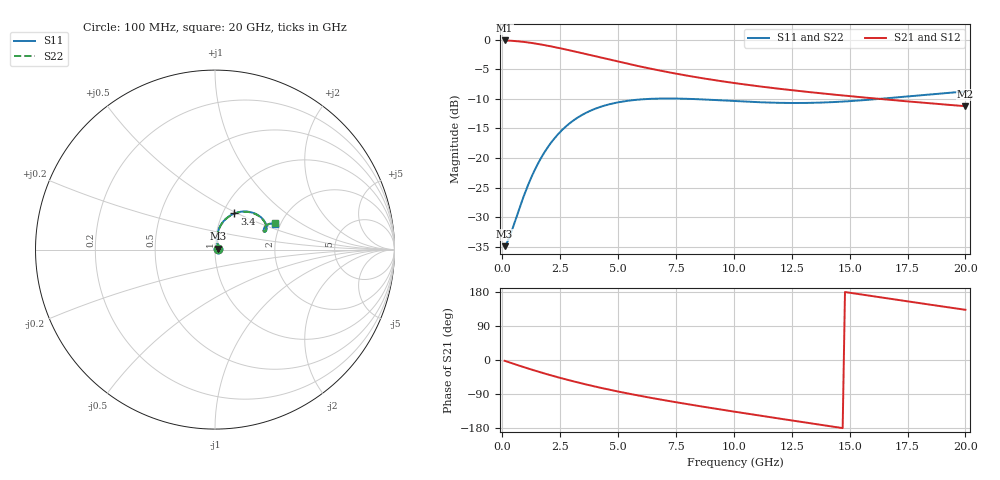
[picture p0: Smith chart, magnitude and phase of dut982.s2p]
! Touchstone file exported from HFSS 2024.1.0
!  File:  C:/UserFiles/LocalFiles/RDL_TSV_Batchsim/temp_RDL_TSV_982_1779973666.aedt
!  Generated:  09:22:03 PM May 28, 2026
!  Design:  RDL_TSV
!  Project:  temp_RDL_TSV_982_1779973666
!  Setup:  Setup1
!  Solution:  Sweep
! Variables:
!  dtsv = 9.14um
!  hbump = 3um
!  htsv = 90.71um
!  ldown = 681.23um
!  lrdl = 272.59um
!  p = 40
!  p1 = 59.82um
!  rhole = 10um
!  subl = 3134.05um
!  t = 450um
!  tdown = 3.92um
!  trdl = 3.85um
!  viad = 10um
!  wdown = 14.79um
!  wrdl = 24.59um
!  xbump = 18um
# GHz S MA R 50.000000
! Terminal data exported
! Port[1] = TM1_1_T1
! Port[2] = TM1_4_T1
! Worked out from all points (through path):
!   200 points, 100 MHz to 20 GHz, reference 50 ohm
!   highest |S21| = -0.16 dB at 100 MHz (marker M1); lowest = -11.3 dB at 20 GHz (marker M2)
!   group delay of S21, straight-line fit = 29.4 ps
!   lowest |S11| = -34.9 dB at 100 MHz (marker M3), VSWR 1.04, Z = 51.8 + j0.499 ohm
!   |S11| at or under -10 dB: start of sweep to 6.504 GHz; 7.89 GHz to 16.35 GHz (8.463 GHz wide, 69.8 % of centre)
!   |S22| runs from -34.9 to -8.8 dB; largest |S21 - S12| = 4.2e-14
!   S11 on the Smith chart (normalised r, x): 100 MHz: 1.04, +0.01; 3.4 GHz: 1.13, +0.48; 20 GHz: 1.87, +0.62
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0.1  0.01799 15.5  0.9822 -2.1  0.9822 -2.1  0.01799 15.5
! Gamma 0 0 0 0
! Port Impedance 50 0 50 0
0.3  0.02125 38.5  0.9787 -6.2  0.9787 -6.2  0.02121 38.7
0.7  0.03569 67.1  0.9655 -14.3  0.9655 -14.3  0.0357 67.1
1.1  0.05821 78.3  0.9455 -22.2  0.9455 -22.2  0.05818 78.2
1.4  0.07901 80.8  0.9269 -27.9  0.9269 -27.9  0.0789 80.6
1.7  0.102 80.4  0.906 -33.4  0.906 -33.4  0.1018 80.3
2.1  0.1341 77.5  0.8758 -40.4  0.8758 -40.4  0.1337 77.4
2.5  0.1658 73.2  0.8439 -47.2  0.8439 -47.2  0.1653 73.0
2.9  0.1955 68.2  0.8113 -53.7  0.8113 -53.7  0.1949 68.1
3.4  0.2282 61.8  0.7707 -61.3  0.7707 -61.3  0.2274 61.7
3.5  0.234 60.6  0.7627 -62.8  0.7627 -62.8  0.2332 60.5
4.2  0.2684 52.3  0.7083 -72.7  0.7083 -72.7  0.2674 52.2
5.1  0.2972 43.1  0.6447 -84.4  0.6447 -84.4  0.296 43.0
5.9  0.3112 36.4  0.5952 -94.0  0.5952 -94.0  0.3097 36.3
6.8  0.3174 30.4  0.5473 -104.0  0.5473 -104.0  0.3157 30.3
8.3  0.3143 23.7  0.4836 -119.6  0.4836 -119.6  0.3124 23.6
10.1  0.3018 20.0  0.427 -137.1  0.427 -137.1  0.2998 20.0
11.7  0.2928 19.9  0.3893 -152.1  0.3893 -152.1  0.2909 20.0
13.4  0.2921 21.8  0.3575 -167.8  0.3575 -167.8  0.2903 22.0
15  0.3017 23.9  0.3327 177.5  0.3327 177.5  0.3002 24.2
16.7  0.3206 25.2  0.3101 162.0  0.3101 162.0  0.3194 25.4
20  0.3645 23.4  0.2736 132.5  0.2736 132.5  0.364 23.6
